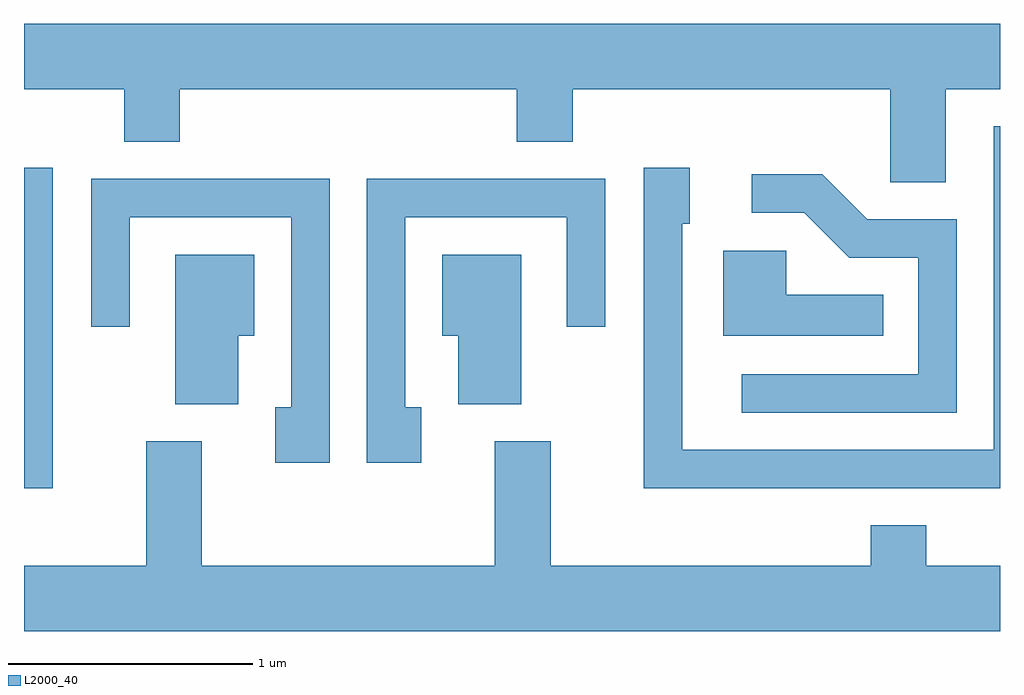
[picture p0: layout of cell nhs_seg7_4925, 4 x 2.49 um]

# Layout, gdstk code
import gdstk
lib = gdstk.Library(unit=1e-6, precision=1e-09)
def R(c, l, rs):  # rectangles x0, y0, x1, y1
    for r in rs: c.add(gdstk.rectangle(r[:2], r[2:], *l))
def P(c, l, *ps):  # polygons
    for p in ps: c.add(gdstk.Polygon(p, *l))
L2000_40 = (2000, 40)

nhs_seg7_4925 = lib.new_cell('nhs_seg7_4925')
R(nhs_seg7_4925, L2000_40, [(335.611,1759.301,335.729,1760.614)])
P(nhs_seg7_4925, L2000_40, [(339.389,1760.936),(339.611,1760.936),(339.611,1761.204),(335.611,1761.204),(335.611,1760.936),(336.021,1760.936),(336.021,1760.721),(336.249,1760.721),(336.249,1760.936),(337.631,1760.936),(337.631,1760.721),(337.859,1760.721),(337.859,1760.936),(339.161,1760.936),(339.161,1760.556),(339.389,1760.556)],
  [(339.611,1760.784),(339.586,1760.784),(339.586,1759.459),(338.309,1759.459),(338.309,1760.386),(338.339,1760.386),(338.339,1760.614),(338.151,1760.614),(338.151,1759.301),(339.611,1759.301)],
  [(339.434,1760.404),(339.067,1760.404),(338.882,1760.589),(338.593,1760.589),(338.593,1760.431),(338.809,1760.431),(338.994,1760.246),(339.276,1760.246),(339.276,1759.769),(338.553,1759.769),(338.553,1759.611),(339.434,1759.611)],
  [(337.239,1759.634),(337.174,1759.634),(337.174,1760.411),(337.836,1760.411),(337.836,1759.963),(337.994,1759.963),(337.994,1760.569),(337.016,1760.569),(337.016,1759.406),(337.239,1759.406)],
  [(336.864,1760.569),(335.886,1760.569),(335.886,1759.963),(336.044,1759.963),(336.044,1760.411),(336.706,1760.411),(336.706,1759.634),(336.641,1759.634),(336.641,1759.406),(336.864,1759.406)],
  [(339.133,1760.094),(338.734,1760.094),(338.734,1760.274),(338.476,1760.274),(338.476,1759.926),(339.133,1759.926)],
  [(337.649,1760.259),(337.326,1760.259),(337.326,1759.926),(337.391,1759.926),(337.391,1759.646),(337.649,1759.646)],
  [(336.489,1759.926),(336.554,1759.926),(336.554,1760.259),(336.231,1760.259),(336.231,1759.646),(336.489,1759.646)],
  [(339.611,1758.984),(339.309,1758.984),(339.309,1759.149),(339.081,1759.149),(339.081,1758.984),(337.769,1758.984),(337.769,1759.494),(337.541,1759.494),(337.541,1758.984),(336.339,1758.984),(336.339,1759.494),(336.111,1759.494),(336.111,1758.984),(335.611,1758.984),(335.611,1758.716),(339.611,1758.716)])

lib.write_gds('nhs_seg7_4925.gds')
